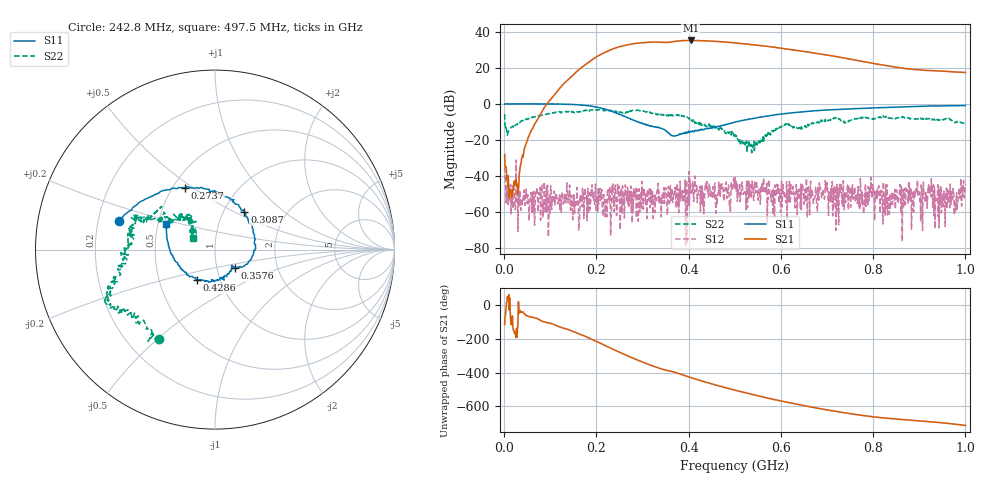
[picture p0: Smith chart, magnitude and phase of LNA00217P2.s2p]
! Created with skrf 1.9.0 (http://scikit-rf.org).
# Hz S RI R 50.0
!freq ReS11 ImS11 ReS21 ImS21 ReS12 ImS12 ReS22 ImS22
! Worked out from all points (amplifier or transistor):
!   1001 points, 1 MHz to 1 GHz, reference 50 ohm
!   highest |S21| = 35.1 dB at 404.6 MHz (marker M1)
!   |S21| within 3 dB of that: 257.3 MHz to 560.9 MHz (303.5 MHz wide, 74.2 % of centre)
!   unconditionally stable (mu >= 1): 3.191 MHz to 86.62 MHz; 248.8 MHz to 400.4 MHz; 400.8 MHz to end of sweep (the widest 3 of 23)
!   at 166.8 MHz: K = 1.91, MAG = 29.5 dB, |S12| = -50.1 dB
!   at 500.5 MHz: K = 1.18, MAG = 34.3 dB, |S12| = -40.0 dB
!   at 1 GHz: K = 1.95, MAG = 25.3 dB, |S12| = -44.4 dB
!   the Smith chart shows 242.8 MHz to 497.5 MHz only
!   S11 on the Smith chart (normalised r, x): 242.8 MHz: 0.29, +0.13; 273.7 MHz: 0.58, +0.46; 308.7 MHz: 1.25, +0.56; 357.6 MHz: 1.22, -0.26; 428.6 MHz: 0.77, -0.28; 497.5 MHz: 0.55, +0.17
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1000000  0.982 0.00469  -0.0179 -0.0356  -0.0145 0.0107  0.3842 0.3536
1.08892e8  0.5108 -0.8487  -0.8302 -1.565  -0.000632 0.00328  0.413 -0.3779
1.67833e8  -0.2469 -0.8882  -10.14 -0.4354  -0.00219 -0.00133  0.00997 -0.6334
2.09791e8  -0.6744 -0.3635  -15.51 17.5  -0.000808 -0.0023  -0.2108 -0.6406
2.42758e8  -0.5354 0.1584  0.797 35.42  -0.00165 -0.00133  -0.3129 -0.4968
2.73727e8  -0.1679 0.3424  28.13 34.46  -0.00225 -0.00178  -0.5427 -0.3151
3.08692e8  0.1634 0.2089  49.06 10.61  -0.00139 0.00239  -0.559 -0.1903
3.34666e8  0.2195 -0.00123  49.7 -11.78  0.00119 0.00135  -0.5069 -0.0521
3.57643e8  0.1118 -0.1022  43.61 -25.13  0.00319 0.00244  -0.4914 0.0932
3.77623e8  0.0927 -0.1015  38.78 -38.96  0.000767 0.00227  -0.4463 0.191
4.04596e8  0.0134 -0.1672  19.54 -53.32  0.0024 0.00231  -0.3175 0.1551
4.28572e8  -0.1022 -0.1714  0.1023 -56.08  -0.000468 0.00419  -0.1937 0.1813
4.64536e8  -0.234 -0.0394  -25.47 -46.71  0.00359 -0.00105  -0.126 0.1647
4.97503e8  -0.2715 0.1423  -38.63 -30.01  0.00849 -0.00244  -0.1198 0.0666
5.005e8  -0.2675 0.16  -39.67 -28.38  0.00897 -0.00442  -0.1206 0.0362
5.36464e8  -0.1918 0.3334  -42.71 -8.245  0.0018 -0.00291  -0.0441 0.00455
5.85415e8  0.0216 0.4917  -34.66 12.4  0.00102 -0.000155  -0.1615 -0.0706
6.25375e8  0.2129 0.525  -22.97 20.99  0.00227 -0.00312  -0.1924 -0.1299
6.67333e8  0.4108 0.4825  -11.01 23.42  0.00374 -0.00124  -0.2718 -0.05
7.41259e8  0.6474 0.3057  2.951 17.93  0.000571 -0.00362  -0.3009 0.0102
8.34166e8  0.7981 0.0104  7.346 8.398  -0.00226 0.00132  -0.3738 0.1609
1e9  0.7191 -0.5416  7.328 0.9377  0.00555 -0.00232  -0.0766 0.2764
